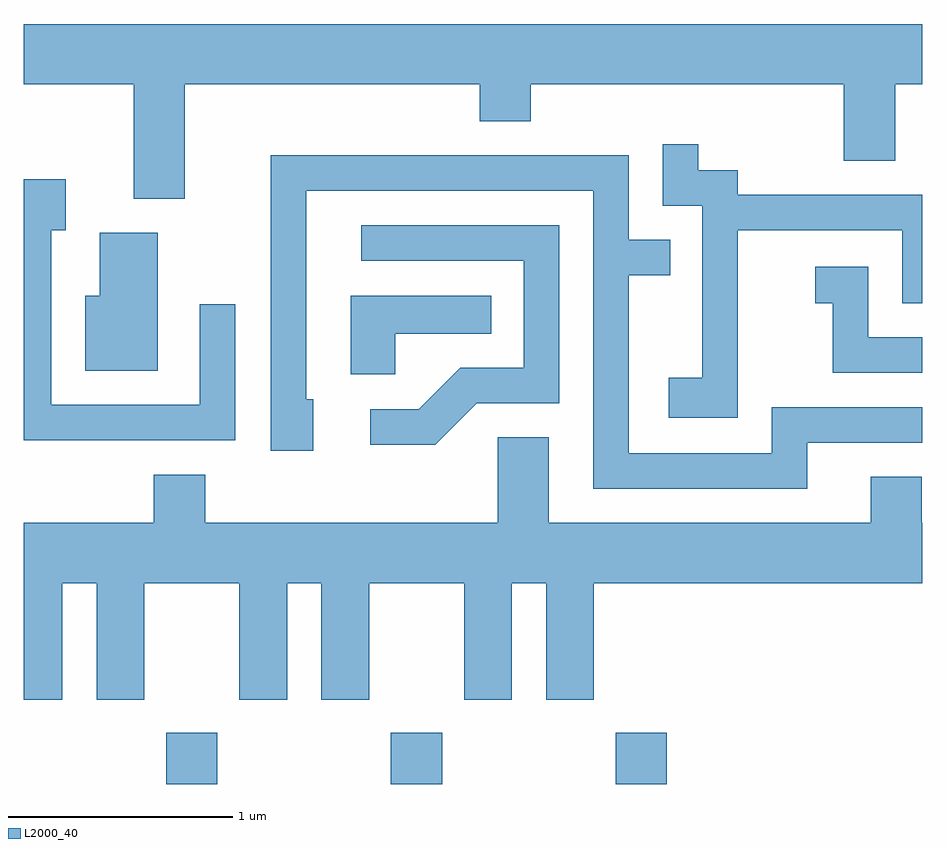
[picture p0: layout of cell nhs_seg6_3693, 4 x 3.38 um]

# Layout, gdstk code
import gdstk
lib = gdstk.Library(unit=1e-6, precision=1e-09)
def R(c, l, rs):  # rectangles x0, y0, x1, y1
    for r in rs: c.add(gdstk.rectangle(r[:2], r[2:], *l))
def A(c, l, x, y, w, h, nx, ny, dx, dy):  # array of equal rectangles
    R(c, l, [(x+i*dx, y+j*dy, x+i*dx+w, y+j*dy+h) for i in range(nx) for j in range(ny)])
def P(c, l, *ps):  # polygons
    for p in ps: c.add(gdstk.Polygon(p, *l))
L2000_40 = (2000, 40)

nhs_seg6_3693 = lib.new_cell('nhs_seg6_3693')
A(nhs_seg6_3693, L2000_40, 296.246, 1640.162, 0.228, 0.227, 3, 1, 1, 0)
P(nhs_seg6_3693, L2000_40, [(295.611,1643.276),(296.101,1643.276),(296.101,1642.766),(296.329,1642.766),(296.329,1643.276),(297.641,1643.276),(297.641,1643.111),(297.869,1643.111),(297.869,1643.276),(299.261,1643.276),(299.261,1642.936),(299.489,1642.936),(299.489,1643.276),(299.611,1643.276),(299.611,1643.544),(295.611,1643.544)],
  [(298.789,1642.626),(299.521,1642.626),(299.521,1642.301),(299.611,1642.301),(299.611,1642.784),(298.789,1642.784),(298.789,1642.894),(298.614,1642.894),(298.614,1643.008),(298.456,1643.008),(298.456,1642.736),(298.631,1642.736),(298.631,1641.969),(298.481,1641.969),(298.481,1641.791),(298.789,1641.791)],
  [(299.099,1641.681),(299.611,1641.681),(299.611,1641.839),(298.941,1641.839),(298.941,1641.634),(298.304,1641.634),(298.304,1642.426),(298.488,1642.426),(298.488,1642.584),(298.304,1642.584),(298.304,1642.959),(296.711,1642.959),(296.711,1641.646),(296.899,1641.646),(296.899,1641.874),(296.869,1641.874),(296.869,1642.801),(298.146,1642.801),(298.146,1641.476),(299.099,1641.476)],
  [(296.554,1642.298),(296.396,1642.298),(296.396,1641.849),(295.734,1641.849),(295.734,1642.626),(295.799,1642.626),(295.799,1642.854),(295.611,1642.854),(295.611,1641.691),(296.554,1641.691)],
  [(297.627,1641.856),(297.994,1641.856),(297.994,1642.649),(297.113,1642.649),(297.113,1642.491),(297.836,1642.491),(297.836,1642.014),(297.554,1642.014),(297.369,1641.829),(297.153,1641.829),(297.153,1641.671),(297.442,1641.671)],
  [(296.209,1642.614),(295.951,1642.614),(295.951,1642.334),(295.886,1642.334),(295.886,1642.001),(296.209,1642.001)],
  [(299.611,1642.149),(299.369,1642.149),(299.369,1642.464),(299.133,1642.464),(299.133,1642.301),(299.211,1642.301),(299.211,1641.991),(299.611,1641.991)],
  [(297.264,1642.166),(297.693,1642.166),(297.693,1642.334),(297.066,1642.334),(297.066,1641.986),(297.264,1641.986)],
  [(295.784,1641.056),(295.936,1641.056),(295.936,1640.536),(296.149,1640.536),(296.149,1641.056),(296.571,1641.056),(296.571,1640.536),(296.784,1640.536),(296.784,1641.056),(296.936,1641.056),(296.936,1640.536),(297.149,1640.536),(297.149,1641.056),(297.571,1641.056),(297.571,1640.536),(297.784,1640.536),(297.784,1641.056),(297.936,1641.056),(297.936,1640.536),(298.149,1640.536),(298.149,1641.056),(299.611,1641.056),(299.611,1641.324),(299.609,1641.324),(299.609,1641.529),(299.381,1641.529),(299.381,1641.324),(297.949,1641.324),(297.949,1641.704),(297.721,1641.704),(297.721,1641.324),(296.419,1641.324),(296.419,1641.539),(296.191,1641.539),(296.191,1641.324),(295.611,1641.324),(295.611,1640.536),(295.784,1640.536)])

lib.write_gds('nhs_seg6_3693.gds')
